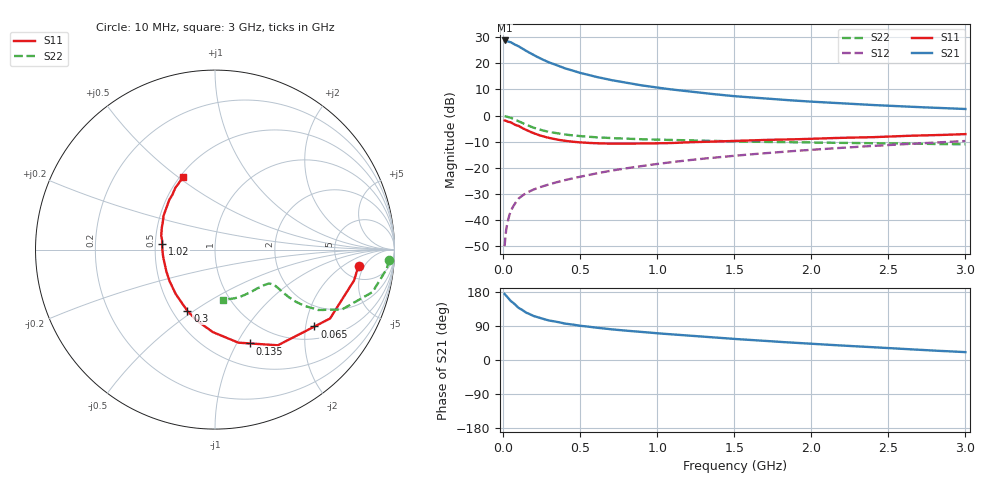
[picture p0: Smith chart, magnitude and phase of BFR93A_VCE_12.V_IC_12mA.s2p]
! Infineon Technologies  Discrete & RF Semiconductors
! BFR93A
! VCE =  12. V,  IC =  12 mA
! Common Emitter S-Parameters:  Nov 2015
# GHz  S  MA  R  50
!  f  S11  S21  S12  S22
! GHz  MAG  ANG  MAG  ANG  MAG  ANG  MAG  ANG
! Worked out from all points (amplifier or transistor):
!   180 points, 10 MHz to 3 GHz, reference 50 ohm
!   highest |S21| = 28.7 dB at 10 MHz (marker M1)
!   |S21| within 3 dB of that: start of sweep to 121.9 MHz
!   unconditionally stable (mu >= 1): 577.3 MHz to 2.635 GHz
!   at 160 MHz: K = 0.53, MSG = 26.8 dB, |S12| = -29.3 dB
!   at 1.22 GHz: K = 1.09, MAG = 11.3 dB, |S12| = -17.0 dB
!   at 3 GHz: K = 0.96, MSG = 6.1 dB, |S12| = -9.7 dB
!   S11 on the Smith chart (normalised r, x): 10 MHz: 7.32, -3.73; 65 MHz: 1.33, -2.24; 135 MHz: 0.75, -1.14; 300 MHz: 0.59, -0.47; 1.02 GHz: 0.54, +0.04; 3 GHz: 0.52, +0.52
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0.01  0.8049 -6.4  27.27 174.3  0.0032 83.3  0.9721 -3.3
0.02  0.7936 -12.5  26.91 169.5  0.0065 81.2  0.9628 -6.4
0.05  0.7473 -30.9  25.23 155.7  0.015 74.4  0.9089 -15.1
0.065  0.7003 -37.7  23.77 151.0  0.0182 70.5  0.8681 -17.8
0.1  0.6378 -56.7  21.14 137.8  0.0259 65.3  0.7818 -25.3
0.135  0.5585 -69.4  18.29 129.3  0.031 61.6  0.7008 -28.6
0.15  0.5346 -75.9  17.22 124.8  0.0332 60.4  0.667 -30.3
0.2  0.4599 -91.5  14.23 115.9  0.0389 59.0  0.585 -32.3
0.24  0.4172 -101.4  12.44 110.6  0.0429 58.7  0.5385 -32.8
0.26  0.4009 -106.1  11.67 108.1  0.0448 58.8  0.5188 -32.9
0.3  0.3743 -114.3  10.33 104.1  0.0486 59.3  0.4862 -32.8
0.4  0.3308 -131.3  8.022 96.2  0.0583 60.9  0.4343 -31.9
0.52  0.3051 -147.3  6.341 89.5  0.0699 62.6  0.4009 -31.1
0.6  0.2969 -155.9  5.532 85.5  0.0779 63.1  0.3854 -30.9
0.7  0.2913 -164.4  4.785 81.1  0.0884 64.1  0.372 -31.2
0.8  0.2917 -171.8  4.223 77.3  0.0984 64.4  0.362 -31.7
1.02  0.2961 174.2  3.366 69.9  0.1212 64.1  0.3461 -33.9
1.3  0.3146 161.1  2.693 61.3  0.1502 62.9  0.331 -38.1
1.52  0.3278 152.7  2.327 55.1  0.1728 61.6  0.3207 -42.0
2.02  0.3626 137.3  1.834 42.4  0.224 57.9  0.3054 -52.8
2.52  0.4002 124.6  1.531 31.1  0.2758 53.3  0.2949 -65.4
3  0.4429 113.6  1.337 20.8  0.3268 48.7  0.283 -80.5
